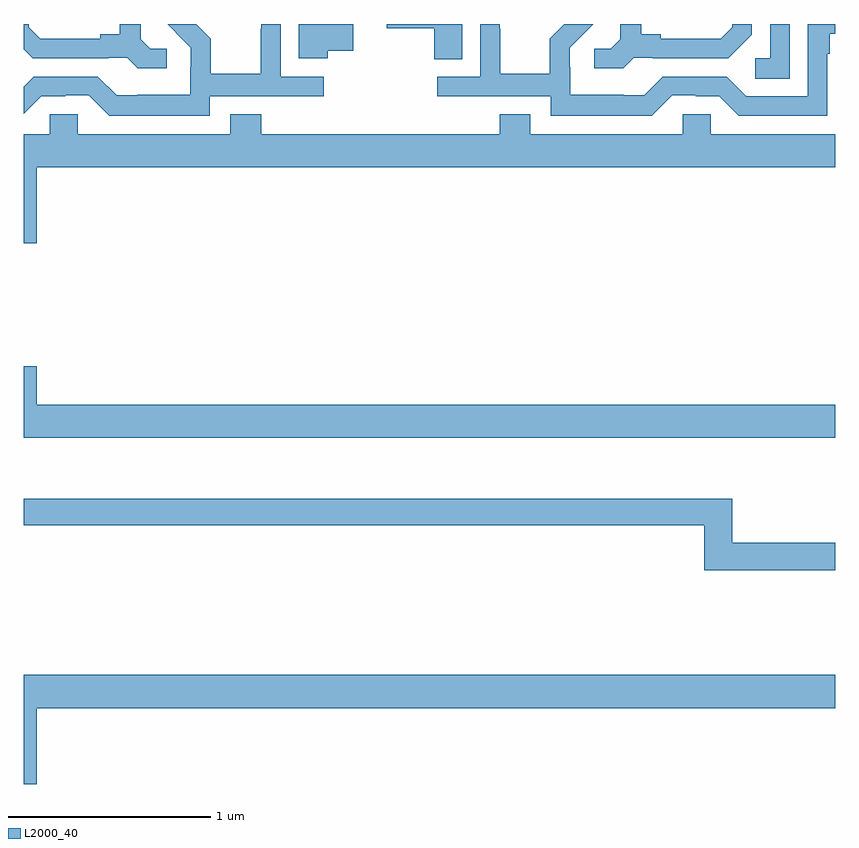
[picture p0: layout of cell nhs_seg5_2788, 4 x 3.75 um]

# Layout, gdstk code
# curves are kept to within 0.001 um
import gdstk
lib = gdstk.Library(unit=1e-6, precision=1e-09)
def P(c, l, *ps):  # polygons
    for p in ps: c.add(gdstk.Polygon(p, *l))
L2000_40 = (2000, 40)

nhs_seg5_2788 = lib.new_cell('nhs_seg5_2788')
P(nhs_seg5_2788, L2000_40, [(274.499,858.668),(274.624,858.668),(274.624,858.799),(274.355,858.799),(274.355,858.629),(274.499,858.629)],
  [(275.161,858.799),(274.79,858.799),(274.79,858.779),(275.023,858.779),(275.023,858.625),(275.161,858.625)],
  [(276.774,858.799),(276.678,858.799),(276.678,858.63),(276.606,858.63),(276.606,858.529),(276.774,858.529)],
  [(276.006,858.633),(276.1,858.633),(276.1,858.63),(276.472,858.63),(276.588,858.746),(276.588,858.799),(276.491,858.799),(276.491,858.783),(276.434,858.726),(276.139,858.726),(276.139,858.749),(276.043,858.749),(276.043,858.799),(275.939,858.799),(275.939,858.725),(275.892,858.678),(275.811,858.678),(275.811,858.581),(275.954,858.581)],
  [(273.918,858.444),(274.48,858.444),(274.48,858.54),(274.266,858.54),(274.266,858.799),(274.17,858.799),(274.17,858.776),(274.168,858.776),(274.168,858.553),(273.923,858.553),(273.923,858.727),(273.851,858.799),(273.709,858.799),(273.824,858.682),(273.824,858.585),(273.822,858.585),(273.822,858.451),(273.559,858.451),(273.559,858.447),(273.459,858.447),(273.366,858.54),(273.051,858.54),(273,858.489),(273,858.357),(273.087,858.444),(273.206,858.444),(273.206,858.447),(273.321,858.447),(273.421,858.347),(273.918,858.347)],
  [(276.195,858.447),(276.311,858.447),(276.311,858.444),(276.429,858.444),(276.525,858.348),(276.96,858.348),(276.96,858.653),(276.973,858.653),(276.973,858.75),(277,858.75),(277,858.799),(276.864,858.799),(276.864,858.444),(276.561,858.444),(276.465,858.54),(276.15,858.54),(276.057,858.447),(275.957,858.447),(275.957,858.451),(275.694,858.451),(275.694,858.585),(275.692,858.585),(275.692,858.682),(275.807,858.799),(275.665,858.799),(275.593,858.727),(275.593,858.553),(275.349,858.553),(275.349,858.776),(275.346,858.776),(275.346,858.799),(275.25,858.799),(275.25,858.54),(275.037,858.54),(275.037,858.444),(275.598,858.444),(275.598,858.347),(276.095,858.347)],
  [(273.706,858.678),(273.624,858.678),(273.577,858.725),(273.577,858.799),(273.473,858.799),(273.473,858.749),(273.377,858.749),(273.377,858.726),(273.082,858.726),(273.025,858.783),(273.025,858.799),(273,858.799),(273,858.674),(273.044,858.63),(273.416,858.63),(273.416,858.633),(273.51,858.633),(273.562,858.581),(273.706,858.581)],
  [(273.064,858.092),(277,858.092),(277,858.256),(276.387,858.256),(276.387,858.354),(276.249,858.354),(276.249,858.256),(275.497,858.256),(275.497,858.355),(275.345,858.355),(275.345,858.256),(274.172,858.256),(274.172,858.355),(274.019,858.355),(274.019,858.256),(273.267,858.256),(273.267,858.354),(273.129,858.354),(273.129,858.256),(273,858.256),(273,857.718),(273.064,857.718)],
  [(277,856.924),(273.064,856.924),(273.064,857.113),(273,857.113),(273,856.76),(277,856.76)],
  [(277,856.244),(276.491,856.244),(276.491,856.459),(273,856.459),(273,856.33),(276.355,856.33),(276.355,856.108),(277,856.108)],
  [(273.064,855.428),(277,855.428),(277,855.592),(273,855.592),(273,855.054),(273.064,855.054)])

lib.write_gds('nhs_seg5_2788.gds')
